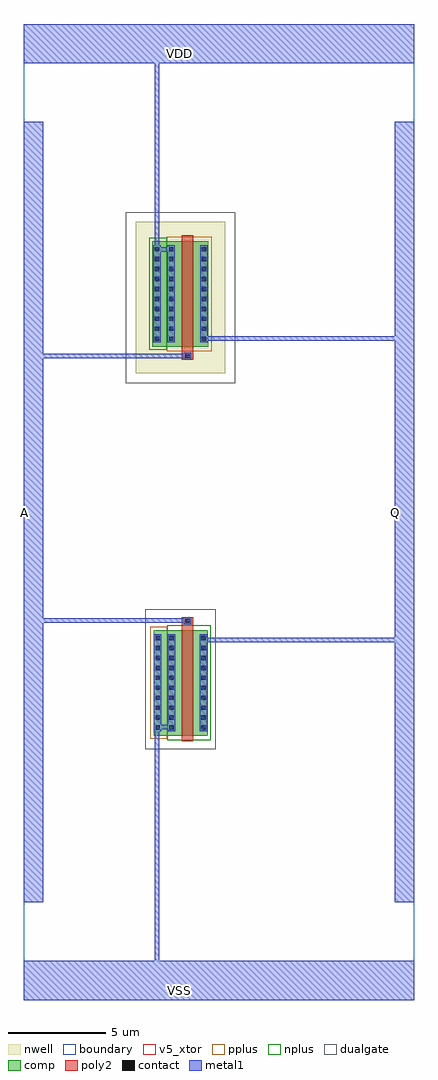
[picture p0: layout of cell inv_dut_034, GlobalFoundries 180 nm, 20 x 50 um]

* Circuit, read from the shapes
.subckt inv_dut_034 A Q VDD VSS
XM1 Q A VSS VSS nfet_05v0 w=5.4u l=0.6u
XM2 Q A VDD VDD pfet_05v0 w=5.4u l=0.6u
.ends

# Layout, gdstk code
from math import pi, radians
import gdstk
lib = gdstk.Library(unit=1e-6, precision=1e-09)
def R(c, l, rs):  # rectangles x0, y0, x1, y1
    for r in rs: c.add(gdstk.rectangle(r[:2], r[2:], *l))
def A(c, l, x, y, w, h, nx, ny, dx, dy):  # array of equal rectangles
    R(c, l, [(x+i*dx, y+j*dy, x+i*dx+w, y+j*dy+h) for i in range(nx) for j in range(ny)])
boundary = (0, 0)
nwell = (21, 0)
comp = (22, 0)
poly2 = (30, 0)
pplus = (31, 0)
nplus = (32, 0)
contact = (33, 0)
metal1 = (34, 0)
dualgate = (55, 0)
v5_xtor = (112, 1)

nfet = lib.new_cell('nfet')
R(nfet, comp, [(-0.42,0,2.35,5.4)])
R(nfet, poly2, [(0.31,-0.66,0.91,5.7)])
R(nfet, pplus, [(1.64,-0.17,2.52,5.57)])
R(nfet, nplus, [(-0.59,-0.24,1.64,5.64)])
A(nfet, contact, -0.32, 0.295, 0.22, 0.22, 1, 10, 0, 0.51)
A(nfet, contact, 1.32, 0.295, 0.22, 0.22, 1, 10, 0, 0.51)
A(nfet, contact, 2.03, 0.295, 0.22, 0.22, 1, 10, 0, 0.51)
R(nfet, contact, [(0.5,-0.59,0.72,-0.37)])
R(nfet, metal1, [(0.42,-0.67,0.8,-0.29), (-0.4,0.215,-0.02,5.185), (1.24,0.215,1.62,5.185), (1.95,0.215,2.33,5.185)])
R(nfet, dualgate, [(-0.84,-1.08,2.77,6.11)])
R(nfet, v5_xtor, [(-0.84,-1.08,2.77,6.11)])

pfet = lib.new_cell('pfet')
R(pfet, nwell, [(-1.32,-0.99,3.27,6.77)])
R(pfet, comp, [(-0.46,0,2.41,5.4)])
R(pfet, poly2, [(0.31,-0.3,0.91,6.08)])
R(pfet, pplus, [(-0.63,-0.24,1.68,5.64)])
R(pfet, nplus, [(1.68,-0.17,2.58,5.57)])
A(pfet, contact, -0.34, 0.295, 0.22, 0.22, 1, 10, 0, 0.51)
A(pfet, contact, 1.34, 0.295, 0.22, 0.22, 1, 10, 0, 0.51)
A(pfet, contact, 2.07, 0.295, 0.22, 0.22, 1, 10, 0, 0.51)
R(pfet, contact, [(0.5,5.78,0.72,6)])
R(pfet, metal1, [(-0.42,0.215,-0.04,5.185), (1.26,0.215,1.64,5.185), (1.99,0.215,2.37,5.185), (0.42,5.7,0.8,6.08)])
R(pfet, dualgate, [(-1.82,-1.49,3.77,7.27)])
R(pfet, v5_xtor, [(-1.82,-1.49,3.77,7.27)])

inv_dut_034 = lib.new_cell('inv_dut_034')
R(inv_dut_034, boundary, [(-10,-25,10,25)])
R(inv_dut_034, metal1, [(-10,-25,10,-23), (-10,-20,-9,20), (9,-20,10,20), (-10,23,10,25)])
inv_dut_034.add(gdstk.FlexPath([(-2.46,-11.025),(-3.175,-11.025),(-3.175,-23.97)], 0.23, ends="flush", simple_path=True, layer=34, datatype=0))  # metal1
inv_dut_034.add(gdstk.FlexPath([(-1.65,7.985),(-9.47,7.985)], 0.23, ends="flush", simple_path=True, layer=34, datatype=0))  # metal1
inv_dut_034.add(gdstk.FlexPath([(-2.42,13.44),(-3.175,13.44),(-3.175,23.8)], 0.23, ends="flush", simple_path=True, layer=34, datatype=0))  # metal1
inv_dut_034.add(gdstk.FlexPath([(-0.7,8.895),(9.405,8.895)], 0.23, ends="flush", simple_path=True, layer=34, datatype=0))  # metal1
inv_dut_034.add(gdstk.FlexPath([(-0.725,-6.555),(9.4,-6.555)], 0.23, ends="flush", simple_path=True, layer=34, datatype=0))  # metal1
inv_dut_034.add(gdstk.FlexPath([(-1.635,-5.57),(-9.49,-5.57)], 0.23, ends="flush", simple_path=True, layer=34, datatype=0))  # metal1
inv_dut_034.add(gdstk.Reference(nfet, (-1,-6.05), rotation=pi))
inv_dut_034.add(gdstk.Reference(pfet, (-1,13.87), rotation=pi))
inv_dut_034.add(gdstk.Label('VDD', (-2,23.5), layer=34, texttype=10))
inv_dut_034.add(gdstk.Label('VSS', (-2,-24.5), layer=34, texttype=10))
inv_dut_034.add(gdstk.Label('A', (-9.97,0), layer=34, texttype=10))
inv_dut_034.add(gdstk.Label('Q', (9.03,0), layer=34, texttype=10))

lib.write_gds('inv_dut_034.gds')
